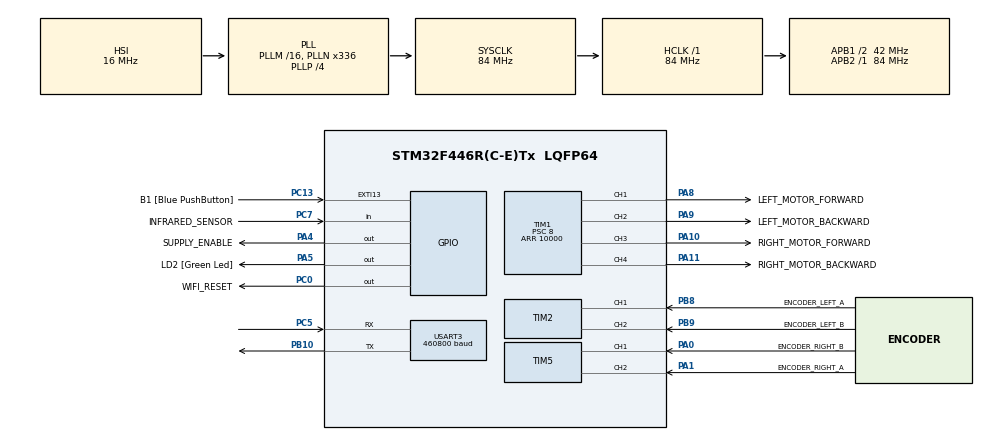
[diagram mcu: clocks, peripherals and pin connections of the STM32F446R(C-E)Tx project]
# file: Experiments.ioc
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Mcu.Family=STM32F4
PH0-OSC_IN.Signal=RCC_OSC_IN
VP_SYS_VS_tim6.Mode=TIM6
Dma.USART3_RX.0.PeriphInc=DMA_PINC_DISABLE
SH.S_TIM1_CH4.0=TIM1_CH4,PWM Generation4 CH4
RCC.CortexFreq_Value=84000000
PB10.Mode=Asynchronous
NVIC.TIM6_DAC_IRQn=true\:0\:0\:false\:false\:true\:false\:false\:true
PA14.GPIO_Label=TCK
SH.S_TIM5_CH2.0=TIM5_CH2,Encoder_Interface
PC0.GPIO_Label=WIFI_RESET
PC5.Mode=Asynchronous
PC13.GPIO_Label=B1 [Blue PushButton]
RCC.SYSCLKSource=RCC_SYSCLKSOURCE_PLLCLK
ProjectManager.StackSize=0x400
VP_FREERTOS_VS_CMSIS_V2.Mode=CMSIS_V2
TIM1.Prescaler=8
USART3.BaudRate=460800
TIM1.Channel-PWM\ Generation4\ CH4=TIM_CHANNEL_4
RCC.HCLKFreq_Value=84000000
RCC.APB2TimFreq_Value=84000000
TIM3.Period=1000-1
PC7.Signal=GPIO_Input
RCC.AHBFreq_Value=84000000
PH0-OSC_IN.Mode=HSE-External-Oscillator
RCC.HSE_VALUE=8000000
Dma.USART3_RX.0.MemDataAlignment=DMA_MDATAALIGN_BYTE
PA4.GPIO_PuPd=GPIO_NOPULL
PC14-OSC32_IN.Mode=LSE-External-Oscillator
TIM1.Channel-PWM\ Generation1\ CH1=TIM_CHANNEL_1
PA14.Mode=Serial_Wire
TIM3.Prescaler=840-1
PA10.GPIO_Label=RIGHT_MOTOR_FORWARD
Dma.USART3_RX.0.PeriphDataAlignment=DMA_PDATAALIGN_BYTE
PC13.GPIO_PuPd=GPIO_NOPULL
Dma.USART3_RX.0.FIFOMode=DMA_FIFOMODE_DISABLE
PA8.Signal=S_TIM1_CH1
TIM5.IC1Filter=15
RCC.FLatency-AdvancedSettings=FLASH_LATENCY_2
PH1-OSC_OUT.Mode=HSE-External-Oscillator
Dma.USART3_RX.0.Direction=DMA_PERIPH_TO_MEMORY
PB9.Signal=S_TIM2_CH2
Mcu.Package=LQFP64
NVIC.TimeBase=TIM6_DAC_IRQn
PA2.GPIO_Label=USART_TX
NVIC.TimeBaseIP=TIM6
PA10.Signal=S_TIM1_CH3
PA15.Signal=UART4_RTS
Dma.USART3_RX.0.MemInc=DMA_MINC_ENABLE
RCC.APB1TimFreq_Value=84000000
SH.S_TIM5_CH1.0=TIM5_CH1,Encoder_Interface
PC5.Signal=USART3_RX
TIM1.Period=10000
PC0.GPIO_PuPd=GPIO_NOPULL
Dma.Request0=USART3_RX
PA4.GPIO_Label=SUPPLY_ENABLE
VP_TIM3_VS_ClockSourceINT.Mode=Internal
PA3.Signal=USART2_RX
PB3.GPIO_Label=SWO
Dma.USART3_RX.0.Instance=DMA1_Stream1
PC15-OSC32_OUT.Mode=LSE-External-Oscillator
TIM5.IC2Filter=15
FREERTOS.Tasks01=DiffDriveTask,48,256,MoveDifferentialDrive,Default,NULL,Dynamic,NULL,NULL;TxTask,48,512,TxStream,Default,NULL,Dynamic,NULL,NULL;RxTask,48,512,RxStream,Default,NULL,Dynamic,NULL,NULL
PB9.GPIO_Label=ENCODER_LEFT_B
TIM2.IC1Filter=15
PC13.Signal=GPXTI13
PA9.GPIO_Label=LEFT_MOTOR_BACKWARD
PA11.GPIO_Label=RIGHT_MOTOR_BACKWARD
NVIC.DMA1_Stream1_IRQn=true\:5\:0\:false\:false\:true\:true\:false\:true
PC0.Signal=GPIO_Output
RCC.APB1CLKDivider=RCC_HCLK_DIV2
PC14-OSC32_IN.Signal=RCC_OSC32_IN
PA0-WKUP.GPIO_Label=ENCODER_RIGHT_B
Dma.USART3_RX.0.Mode=DMA_NORMAL
PA0-WKUP.Signal=S_TIM5_CH1
PA13.Signal=SYS_JTMS-SWDIO
PB8.GPIO_Label=ENCODER_LEFT_A
SH.S_TIM2_CH2.0=TIM2_CH2,Encoder_Interface
PA8.GPIO_Label=LEFT_MOTOR_FORWARD
SH.S_TIM1_CH1.0=TIM1_CH1,PWM Generation1 CH1
ProjectManager.TargetToolchain=STM32CubeIDE
PA9.Signal=S_TIM1_CH2
TIM1.Channel-PWM\ Generation2\ CH2=TIM_CHANNEL_2
RCC.USBFreq_Value=168000000
PC15-OSC32_OUT.Signal=RCC_OSC32_OUT
PA1.Signal=S_TIM5_CH2
PB10.Signal=USART3_TX
PA5.Signal=GPIO_Output
board=NUCLEO-F446RE
RCC.VCOOutputFreq_Value=336000000
NVIC.TIM3_IRQn=true\:5\:0\:false\:false\:true\:true\:true\:true
RCC.APB2Freq_Value=84000000
SH.S_TIM1_CH2.0=TIM1_CH2,PWM Generation2 CH2
PA1.GPIO_Label=ENCODER_RIGHT_A
PH1-OSC_OUT.Signal=RCC_OSC_OUT
PA13.Mode=Serial_Wire
Mcu.Name=STM32F446R(C-E)Tx
PA2.Signal=USART2_TX
PA13.GPIO_Label=TMS
PC7.GPIO_Label=INFRARED_SENSOR
RCC.48MHZClocksFreq_Value=84000000
PB3.Signal=SYS_JTDO-SWO
PA4.Signal=GPIO_Output
RCC.SYSCLKFreq_VALUE=84000000
Dma.USART3_RX.0.Priority=DMA_PRIORITY_HIGH
PA5.GPIO_Label=LD2 [Green Led]
PC13.GPIO_ModeDefaultEXTI=GPIO_MODE_IT_FALLING
USART3.VirtualMode=VM_ASYNC
PA11.Signal=S_TIM1_CH4
SH.S_TIM2_CH1_ETR.0=TIM2_CH1,Encoder_Interface
PA14.Signal=SYS_JTCK-SWCLK
ProjectManager.HeapSize=0x200
SH.S_TIM1_CH3.0=TIM1_CH3,PWM Generation3 CH3
RCC.HSI_VALUE=16000000
RCC.PLLP=RCC_PLLP_DIV4
NVIC.PriorityGroup=NVIC_PRIORITYGROUP_4
RCC.PLLN=336
PB8.Signal=S_TIM2_CH1_ETR
TIM1.Channel-PWM\ Generation3\ CH3=TIM_CHANNEL_3
RCC.APB1Freq_Value=42000000
TIM2.IC2Filter=15
PA3.GPIO_Label=USART_RX

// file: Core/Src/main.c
/* USER CODE BEGIN Header */
/**
  ******************************************************************************
  * @file           : main.c
  * @brief          : Main program body
  ******************************************************************************
  * @attention
  *
  * <h2><center>&copy; Copyright (c) 2021 STMicroelectronics.
  * All rights reserved.</center></h2>
  *
  * This software component is licensed by ST under BSD 3-Clause license,
  * the "License"; You may not use this file except in compliance with the
  * License. You may obtain a copy of the License at:
  *                        opensource.org/licenses/BSD-3-Clause
  *
  ******************************************************************************
  */
/* USER CODE END Header */
#include "main.h"
#include "cmsis_os.h"

/* USER CODE BEGIN Includes */

#include "my_lib/differential_drive.h"
#include "my_lib/datastream.h"
#include "my_lib/digital_filters.h"

#include "my_data/identification.h"

#include <stdio.h>
#include <stdlib.h>
#include <string.h>
#include <math.h>

/* USER CODE END Includes */

TIM_HandleTypeDef htim1;
TIM_HandleTypeDef htim2;
TIM_HandleTypeDef htim3;
TIM_HandleTypeDef htim5;

UART_HandleTypeDef huart3;
DMA_HandleTypeDef hdma_usart3_rx;

/* Definitions for DiffDriveTask */
osThreadId_t DiffDriveTaskHandle;
const osThreadAttr_t DiffDriveTask_attributes = {
  .name = "DiffDriveTask",
  .stack_size = 256 * 4,
  .priority = (osPriority_t) osPriorityRealtime,
};
/* Definitions for TxTask */
osThreadId_t TxTaskHandle;
const osThreadAttr_t TxTask_attributes = {
  .name = "TxTask",
  .stack_size = 512 * 4,
  .priority = (osPriority_t) osPriorityRealtime,
};
/* Definitions for RxTask */
osThreadId_t RxTaskHandle;
const osThreadAttr_t RxTask_attributes = {
  .name = "RxTask",
  .stack_size = 512 * 4,
  .priority = (osPriority_t) osPriorityRealtime,
};
/* USER CODE BEGIN PV */

#ifdef OBSTACLE_AVOIDANCE

/* Definitions for InfraredTask */
osThreadId_t InfraredTaskHandle;
const osThreadAttr_t InfraredTask_attributes = {
  .name = "InfraredTask",
  .stack_size = 128 * 4,
  .priority = (osPriority_t) osPriorityRealtime,
};

#endif

// Handles of my libraries
DIFFDRIVE_HandleTypeDef hdiffdrive;
MAF_HandleTypeDef hfilter_a, hfilter_th, hfilter_infrared;
DATASTREAM_HandleTypeDef hstream;

/* USER CODE END PV */

void SystemClock_Config(void);
static void MX_GPIO_Init(void);
static void MX_DMA_Init(void);
static void MX_TIM2_Init(void);
static void MX_TIM1_Init(void);
static void MX_TIM3_Init(void);
static void MX_TIM5_Init(void);
static void MX_USART3_UART_Init(void);
void MoveDifferentialDrive(void *argument);
void TxStream(void *argument);
void RxStream(void *argument);

/* USER CODE BEGIN PFP */

static void MAIN_DATASTREAM_Init(void);
static void MAIN_DIFFDRIVE_Init(void);
static void MAIN_MAF_Init(void);

/* USER CODE END PFP */

/* USER CODE BEGIN 0 */

// Global variables shared within tasks
volatile float linear=0, angular=0;
volatile bool diffDrive_enabled= false;
volatile bool diffDrive_stopped= true;
volatile bool RxStream_enabled= true;
volatile bool RxStream_stopped= false;
volatile bool allow_new_msg= false;

/* USER CODE END 0 */

int main(void)
{

  /* MCU Configuration--------------------------------------------------------*/

  /* Reset of all peripherals, Initializes the Flash interface and the Systick. */
  HAL_Init();

  /* Configure the system clock */
  SystemClock_Config();

  /* Initialize all configured peripherals */
  MX_GPIO_Init();
  MX_DMA_Init();
  MX_TIM2_Init();
  MX_TIM1_Init();
  MX_TIM3_Init();
  MX_TIM5_Init();
  MX_USART3_UART_Init();
  /* USER CODE BEGIN 2 */

  // Initializing my libraries
  MAIN_DIFFDRIVE_Init();
  MAIN_DATASTREAM_Init();
  MAIN_MAF_Init();

  // Using the flag "wait_button" to start MCU with WIFI disabled
  // if blue button is pressed during reset. It's useful to avoid
  // battery leakage
  bool wait_for_button= false;
  if( !HAL_GPIO_ReadPin(B1_GPIO_Port, B1_Pin) ){
   	wait_for_button= true;
   	// Show pressed button
   	while( !HAL_GPIO_ReadPin(B1_GPIO_Port, B1_Pin) ){
   		HAL_GPIO_TogglePin(LD2_GPIO_Port, LD2_Pin);
   		HAL_Delay(50);
   	}
   	// Turn on LED
   	HAL_GPIO_WritePin(LD2_GPIO_Port, LD2_Pin, GPIO_PIN_RESET);
   	// Debouncing released button
   	HAL_Delay(1000);
  }

  // Reset ESP-8266
  HAL_GPIO_WritePin(WIFI_RESET_GPIO_Port, WIFI_RESET_Pin, GPIO_PIN_RESET);

  // Wait for blue button if this option is on
  if( wait_for_button )
	  while( HAL_GPIO_ReadPin(B1_GPIO_Port, B1_Pin) )
		  	  ;

  HAL_Delay(1000);

  // Start ESP
  HAL_GPIO_WritePin(WIFI_RESET_GPIO_Port, WIFI_RESET_Pin, GPIO_PIN_SET);

  // Wait a bit for ESP initialization
  HAL_Delay(3000);

  /* USER CODE END 2 */

  /* Init scheduler */
  osKernelInitialize();

  /* Create the thread(s) */
  /* creation of DiffDriveTask */
  DiffDriveTaskHandle = osThreadNew(MoveDifferentialDrive, NULL, &DiffDriveTask_attributes);

  /* creation of TxTask */
  TxTaskHandle = osThreadNew(TxStream, NULL, &TxTask_attributes);

  /* creation of RxTask */
  RxTaskHandle = osThreadNew(RxStream, NULL, &RxTask_attributes);

  /* USER CODE BEGIN RTOS_THREADS */
  /* add threads, ... */

#ifdef OBSTACLE_AVOIDANCE
  /* creation of InfraredTask */
  InfraredTaskHandle = osThreadNew(InfraredSensor, NULL, &InfraredTask_attributes);
#endif

  /* USER CODE END RTOS_THREADS */

  /* Start scheduler */
  osKernelStart();

  /* We should never get here as control is now taken by the scheduler */
  /* Infinite loop */
  while (1)
  {

  }
}

void SystemClock_Config(void)
{
  RCC_OscInitTypeDef RCC_OscInitStruct = {0};
  RCC_ClkInitTypeDef RCC_ClkInitStruct = {0};

  /** Configure the main internal regulator output voltage
  */
  __HAL_RCC_PWR_CLK_ENABLE();
  __HAL_PWR_VOLTAGESCALING_CONFIG(PWR_REGULATOR_VOLTAGE_SCALE3);
  /** Initializes the RCC Oscillators according to the specified parameters
  * in the RCC_OscInitTypeDef structure.
  */
  RCC_OscInitStruct.OscillatorType = RCC_OSCILLATORTYPE_HSI;
  RCC_OscInitStruct.HSIState = RCC_HSI_ON;
  RCC_OscInitStruct.HSICalibrationValue = RCC_HSICALIBRATION_DEFAULT;
  RCC_OscInitStruct.PLL.PLLState = RCC_PLL_ON;
  RCC_OscInitStruct.PLL.PLLSource = RCC_PLLSOURCE_HSI;
  RCC_OscInitStruct.PLL.PLLM = 16;
  RCC_OscInitStruct.PLL.PLLN = 336;
  RCC_OscInitStruct.PLL.PLLP = RCC_PLLP_DIV4;
  RCC_OscInitStruct.PLL.PLLQ = 2;
  RCC_OscInitStruct.PLL.PLLR = 2;
  if (HAL_RCC_OscConfig(&RCC_OscInitStruct) != HAL_OK)
  {
    Error_Handler();
  }
  /** Initializes the CPU, AHB and APB buses clocks
  */
  RCC_ClkInitStruct.ClockType = RCC_CLOCKTYPE_HCLK|RCC_CLOCKTYPE_SYSCLK
                              |RCC_CLOCKTYPE_PCLK1|RCC_CLOCKTYPE_PCLK2;
  RCC_ClkInitStruct.SYSCLKSource = RCC_SYSCLKSOURCE_PLLCLK;
  RCC_ClkInitStruct.AHBCLKDivider = RCC_SYSCLK_DIV1;
  RCC_ClkInitStruct.APB1CLKDivider = RCC_HCLK_DIV2;
  RCC_ClkInitStruct.APB2CLKDivider = RCC_HCLK_DIV1;

  if (HAL_RCC_ClockConfig(&RCC_ClkInitStruct, FLASH_LATENCY_2) != HAL_OK)
  {
    Error_Handler();
  }
}

static void MX_TIM1_Init(void)
{

  TIM_MasterConfigTypeDef sMasterConfig = {0};
  TIM_OC_InitTypeDef sConfigOC = {0};
  TIM_BreakDeadTimeConfigTypeDef sBreakDeadTimeConfig = {0};

  htim1.Instance = TIM1;
  htim1.Init.Prescaler = 8;
  htim1.Init.CounterMode = TIM_COUNTERMODE_UP;
  htim1.Init.Period = 10000;
  htim1.Init.ClockDivision = TIM_CLOCKDIVISION_DIV1;
  htim1.Init.RepetitionCounter = 0;
  htim1.Init.AutoReloadPreload = TIM_AUTORELOAD_PRELOAD_DISABLE;
  if (HAL_TIM_PWM_Init(&htim1) != HAL_OK)
  {
    Error_Handler();
  }
  sMasterConfig.MasterOutputTrigger = TIM_TRGO_RESET;
  sMasterConfig.MasterSlaveMode = TIM_MASTERSLAVEMODE_DISABLE;
  if (HAL_TIMEx_MasterConfigSynchronization(&htim1, &sMasterConfig) != HAL_OK)
  {
    Error_Handler();
  }
  sConfigOC.OCMode = TIM_OCMODE_PWM1;
  sConfigOC.Pulse = 0;
  sConfigOC.OCPolarity = TIM_OCPOLARITY_HIGH;
  sConfigOC.OCNPolarity = TIM_OCNPOLARITY_HIGH;
  sConfigOC.OCFastMode = TIM_OCFAST_DISABLE;
  sConfigOC.OCIdleState = TIM_OCIDLESTATE_RESET;
  sConfigOC.OCNIdleState = TIM_OCNIDLESTATE_RESET;
  if (HAL_TIM_PWM_ConfigChannel(&htim1, &sConfigOC, TIM_CHANNEL_1) != HAL_OK)
  {
    Error_Handler();
  }
  if (HAL_TIM_PWM_ConfigChannel(&htim1, &sConfigOC, TIM_CHANNEL_2) != HAL_OK)
  {
    Error_Handler();
  }
  if (HAL_TIM_PWM_ConfigChannel(&htim1, &sConfigOC, TIM_CHANNEL_3) != HAL_OK)
  {
    Error_Handler();
  }
  if (HAL_TIM_PWM_ConfigChannel(&htim1, &sConfigOC, TIM_CHANNEL_4) != HAL_OK)
  {
    Error_Handler();
  }
  sBreakDeadTimeConfig.OffStateRunMode = TIM_OSSR_DISABLE;
  sBreakDeadTimeConfig.OffStateIDLEMode = TIM_OSSI_DISABLE;
  sBreakDeadTimeConfig.LockLevel = TIM_LOCKLEVEL_OFF;
  sBreakDeadTimeConfig.DeadTime = 0;
  sBreakDeadTimeConfig.BreakState = TIM_BREAK_DISABLE;
  sBreakDeadTimeConfig.BreakPolarity = TIM_BREAKPOLARITY_HIGH;
  sBreakDeadTimeConfig.AutomaticOutput = TIM_AUTOMATICOUTPUT_DISABLE;
  if (HAL_TIMEx_ConfigBreakDeadTime(&htim1, &sBreakDeadTimeConfig) != HAL_OK)
  {
    Error_Handler();
  }
  HAL_TIM_MspPostInit(&htim1);

}

static void MX_TIM2_Init(void)
{

  TIM_Encoder_InitTypeDef sConfig = {0};
  TIM_MasterConfigTypeDef sMasterConfig = {0};

  htim2.Instance = TIM2;
  htim2.Init.Prescaler = 0;
  htim2.Init.CounterMode = TIM_COUNTERMODE_UP;
  htim2.Init.Period = 4294967295;
  htim2.Init.ClockDivision = TIM_CLOCKDIVISION_DIV1;
  htim2.Init.AutoReloadPreload = TIM_AUTORELOAD_PRELOAD_DISABLE;
  sConfig.EncoderMode = TIM_ENCODERMODE_TI1;
  sConfig.IC1Polarity = TIM_ICPOLARITY_RISING;
  sConfig.IC1Selection = TIM_ICSELECTION_DIRECTTI;
  sConfig.IC1Prescaler = TIM_ICPSC_DIV1;
  sConfig.IC1Filter = 15;
  sConfig.IC2Polarity = TIM_ICPOLARITY_RISING;
  sConfig.IC2Selection = TIM_ICSELECTION_DIRECTTI;
  sConfig.IC2Prescaler = TIM_ICPSC_DIV1;
  sConfig.IC2Filter = 15;
  if (HAL_TIM_Encoder_Init(&htim2, &sConfig) != HAL_OK)
  {
    Error_Handler();
  }
  sMasterConfig.MasterOutputTrigger = TIM_TRGO_RESET;
  sMasterConfig.MasterSlaveMode = TIM_MASTERSLAVEMODE_DISABLE;
  if (HAL_TIMEx_MasterConfigSynchronization(&htim2, &sMasterConfig) != HAL_OK)
  {
    Error_Handler();
  }

}

static void MX_TIM3_Init(void)
{

  TIM_ClockConfigTypeDef sClockSourceConfig = {0};
  TIM_MasterConfigTypeDef sMasterConfig = {0};

  htim3.Instance = TIM3;
  htim3.Init.Prescaler = 840-1;
  htim3.Init.CounterMode = TIM_COUNTERMODE_UP;
  htim3.Init.Period = 1000-1;
  htim3.Init.ClockDivision = TIM_CLOCKDIVISION_DIV1;
  htim3.Init.AutoReloadPreload = TIM_AUTORELOAD_PRELOAD_DISABLE;
  if (HAL_TIM_Base_Init(&htim3) != HAL_OK)
  {
    Error_Handler();
  }
  sClockSourceConfig.ClockSource = TIM_CLOCKSOURCE_INTERNAL;
  if (HAL_TIM_ConfigClockSource(&htim3, &sClockSourceConfig) != HAL_OK)
  {
    Error_Handler();
  }
  sMasterConfig.MasterOutputTrigger = TIM_TRGO_RESET;
  sMasterConfig.MasterSlaveMode = TIM_MASTERSLAVEMODE_DISABLE;
  if (HAL_TIMEx_MasterConfigSynchronization(&htim3, &sMasterConfig) != HAL_OK)
  {
    Error_Handler();
  }

}

static void MX_TIM5_Init(void)
{

  TIM_Encoder_InitTypeDef sConfig = {0};
  TIM_MasterConfigTypeDef sMasterConfig = {0};

  htim5.Instance = TIM5;
  htim5.Init.Prescaler = 0;
  htim5.Init.CounterMode = TIM_COUNTERMODE_UP;
  htim5.Init.Period = 4294967295;
  htim5.Init.ClockDivision = TIM_CLOCKDIVISION_DIV1;
  htim5.Init.AutoReloadPreload = TIM_AUTORELOAD_PRELOAD_DISABLE;
  sConfig.EncoderMode = TIM_ENCODERMODE_TI1;
  sConfig.IC1Polarity = TIM_ICPOLARITY_RISING;
  sConfig.IC1Selection = TIM_ICSELECTION_DIRECTTI;
  sConfig.IC1Prescaler = TIM_ICPSC_DIV1;
  sConfig.IC1Filter = 15;
  sConfig.IC2Polarity = TIM_ICPOLARITY_RISING;
  sConfig.IC2Selection = TIM_ICSELECTION_DIRECTTI;
  sConfig.IC2Prescaler = TIM_ICPSC_DIV1;
  sConfig.IC2Filter = 15;
  if (HAL_TIM_Encoder_Init(&htim5, &sConfig) != HAL_OK)
  {
    Error_Handler();
  }
  sMasterConfig.MasterOutputTrigger = TIM_TRGO_RESET;
  sMasterConfig.MasterSlaveMode = TIM_MASTERSLAVEMODE_DISABLE;
  if (HAL_TIMEx_MasterConfigSynchronization(&htim5, &sMasterConfig) != HAL_OK)
  {
    Error_Handler();
  }

}

static void MX_USART3_UART_Init(void)
{

  huart3.Instance = USART3;
  huart3.Init.BaudRate = 460800;
  huart3.Init.WordLength = UART_WORDLENGTH_8B;
  huart3.Init.StopBits = UART_STOPBITS_1;
  huart3.Init.Parity = UART_PARITY_NONE;
  huart3.Init.Mode = UART_MODE_TX_RX;
  huart3.Init.HwFlowCtl = UART_HWCONTROL_NONE;
  huart3.Init.OverSampling = UART_OVERSAMPLING_16;
  if (HAL_UART_Init(&huart3) != HAL_OK)
  {
    Error_Handler();
  }

}

static void MX_DMA_Init(void)
{

  /* DMA controller clock enable */
  __HAL_RCC_DMA1_CLK_ENABLE();

  /* DMA interrupt init */
  /* DMA1_Stream1_IRQn interrupt configuration */
  HAL_NVIC_SetPriority(DMA1_Stream1_IRQn, 5, 0);
  HAL_NVIC_EnableIRQ(DMA1_Stream1_IRQn);

}

static void MX_GPIO_Init(void)
{
  GPIO_InitTypeDef GPIO_InitStruct = {0};

  /* GPIO Ports Clock Enable */
  __HAL_RCC_GPIOC_CLK_ENABLE();
  __HAL_RCC_GPIOH_CLK_ENABLE();
  __HAL_RCC_GPIOA_CLK_ENABLE();
  __HAL_RCC_GPIOB_CLK_ENABLE();

  /*Configure GPIO pin Output Level */
  HAL_GPIO_WritePin(WIFI_RESET_GPIO_Port, WIFI_RESET_Pin, GPIO_PIN_RESET);

  /*Configure GPIO pin Output Level */
  HAL_GPIO_WritePin(GPIOA, SUPPLY_ENABLE_Pin|LD2_Pin, GPIO_PIN_RESET);

  /*Configure GPIO pin : B1_Pin */
  GPIO_InitStruct.Pin = B1_Pin;
  GPIO_InitStruct.Mode = GPIO_MODE_IT_FALLING;
  GPIO_InitStruct.Pull = GPIO_NOPULL;
  HAL_GPIO_Init(B1_GPIO_Port, &GPIO_InitStruct);

  /*Configure GPIO pin : WIFI_RESET_Pin */
  GPIO_InitStruct.Pin = WIFI_RESET_Pin;
  GPIO_InitStruct.Mode = GPIO_MODE_OUTPUT_PP;
  GPIO_InitStruct.Pull = GPIO_NOPULL;
  GPIO_InitStruct.Speed = GPIO_SPEED_FREQ_LOW;
  HAL_GPIO_Init(WIFI_RESET_GPIO_Port, &GPIO_InitStruct);

  /*Configure GPIO pins : USART_TX_Pin USART_RX_Pin */
  GPIO_InitStruct.Pin = USART_TX_Pin|USART_RX_Pin;
  GPIO_InitStruct.Mode = GPIO_MODE_AF_PP;
  GPIO_InitStruct.Pull = GPIO_NOPULL;
  GPIO_InitStruct.Speed = GPIO_SPEED_FREQ_VERY_HIGH;
  GPIO_InitStruct.Alternate = GPIO_AF7_USART2;
  HAL_GPIO_Init(GPIOA, &GPIO_InitStruct);

  /*Configure GPIO pins : SUPPLY_ENABLE_Pin LD2_Pin */
  GPIO_InitStruct.Pin = SUPPLY_ENABLE_Pin|LD2_Pin;
  GPIO_InitStruct.Mode = GPIO_MODE_OUTPUT_PP;
  GPIO_InitStruct.Pull = GPIO_NOPULL;
  GPIO_InitStruct.Speed = GPIO_SPEED_FREQ_LOW;
  HAL_GPIO_Init(GPIOA, &GPIO_InitStruct);

  /*Configure GPIO pin : INFRARED_SENSOR_Pin */
  GPIO_InitStruct.Pin = INFRARED_SENSOR_Pin;
  GPIO_InitStruct.Mode = GPIO_MODE_INPUT;
  GPIO_InitStruct.Pull = GPIO_NOPULL;
  HAL_GPIO_Init(INFRARED_SENSOR_GPIO_Port, &GPIO_InitStruct);

  /*Configure GPIO pin : PA15 */
  GPIO_InitStruct.Pin = GPIO_PIN_15;
  GPIO_InitStruct.Mode = GPIO_MODE_AF_PP;
  GPIO_InitStruct.Pull = GPIO_NOPULL;
  GPIO_InitStruct.Speed = GPIO_SPEED_FREQ_VERY_HIGH;
  GPIO_InitStruct.Alternate = GPIO_AF8_UART4;
  HAL_GPIO_Init(GPIOA, &GPIO_InitStruct);

}

/* USER CODE BEGIN 4 */

static void MAIN_DATASTREAM_Init(){

	DATASTREAM_InitTypeDef DATASTREAM_InitStruct;

	DATASTREAM_InitStruct.DMA_Rx_Enable= true;
	DATASTREAM_InitStruct.DMA_Rx_Stream_IRQn= DMA1_Stream1_IRQn;
	DATASTREAM_InitStruct.huart= &huart3;

	hstream.Init= DATASTREAM_InitStruct;

	DATASTREAM_Init(&hstream);

}

static void MAIN_DIFFDRIVE_Init(void){

	float Ts= 0.01f;
	uint16_t max_sample= 1400u;

	hdiffdrive.Init.timing_htim= &htim3;
	hdiffdrive.Init.timing_time_step= Ts;

	hdiffdrive.Init.encoder_htim[left ]= &htim2;
	hdiffdrive.Init.encoder_htim[right]= &htim5;
	hdiffdrive.Init.encoder_tim_channel[left ]= TIM_CHANNEL_1;
	hdiffdrive.Init.encoder_tim_channel[right]= TIM_CHANNEL_1;
	hdiffdrive.Init.encoder_tim_arr_resolution[left ]= 32;
	hdiffdrive.Init.encoder_tim_arr_resolution[right]= 32;

	hdiffdrive.Init.encoder_resolution[left ]= 1900; //1920; // Number of step each wheel revolution
	hdiffdrive.Init.encoder_resolution[right]= 1900; //1920;

	hdiffdrive.Init.motor_htim[left ][forward ]= &htim1;
	hdiffdrive.Init.motor_htim[left ][backward]= &htim1;
	hdiffdrive.Init.motor_htim[right][forward ]= &htim1;
	hdiffdrive.Init.motor_htim[right][backward]= &htim1;

	hdiffdrive.Init.motor_pwm_channel[left ][forward ]= TIM_CHANNEL_1;
	hdiffdrive.Init.motor_pwm_channel[left ][backward]= TIM_CHANNEL_2;
	hdiffdrive.Init.motor_pwm_channel[right][forward ]= TIM_CHANNEL_3;
	hdiffdrive.Init.motor_pwm_channel[right][backward]= TIM_CHANNEL_4;

	hdiffdrive.Init.motor_max_voltage[left ]= 	 MOTOR_MAX_VOLTAGE;
	hdiffdrive.Init.motor_max_voltage[right]= 	 MOTOR_MAX_VOLTAGE;
	hdiffdrive.Init.motor_min_voltage[left ]= 	 MOTOR_MIN_VOLTAGE;
	hdiffdrive.Init.motor_min_voltage[right]= 	 MOTOR_MIN_VOLTAGE;
	hdiffdrive.Init.motor_supply_voltage[left]=  SUPPLY_VOLTAGE;
	hdiffdrive.Init.motor_supply_voltage[right]= SUPPLY_VOLTAGE;

	hdiffdrive.Init.control_fdfrwrd_arma_AR[left ]= AR_L;
	hdiffdrive.Init.control_fdfrwrd_arma_AR[right]= AR_R;
	hdiffdrive.Init.control_fdfrwrd_arma_MA[left ]= MA_L;
	hdiffdrive.Init.control_fdfrwrd_arma_MA[right]= MA_R;
	hdiffdrive.Init.control_fdfrwrd_arma_n_ar[left ]= N_AR_L;
	hdiffdrive.Init.control_fdfrwrd_arma_n_ar[right]= N_AR_R;
	hdiffdrive.Init.control_fdfrwrd_arma_n_ma[left ]= N_MA_L;
	hdiffdrive.Init.control_fdfrwrd_arma_n_ma[right]= N_MA_R;
	hdiffdrive.Init.control_fdfrwrd_arma_tau[left ]= TAU_L;
	hdiffdrive.Init.control_fdfrwrd_arma_tau[right]= TAU_R;

	hdiffdrive.Init.control_pid_P[left ]= 20.0f;  //33.3;
	hdiffdrive.Init.control_pid_P[right]= 20.0f;  //33.3;
	hdiffdrive.Init.control_pid_I[left ]= 8.0f;   //7.6;
	hdiffdrive.Init.control_pid_I[right]= 8.0f;   //7.6;
	hdiffdrive.Init.control_pid_D[left ]= 0.0f;
	hdiffdrive.Init.control_pid_D[right]= 0.0f;

	hdiffdrive.Init.history_max_sample= max_sample;

	// --- Mechanical parameters (from real model) --- //

	hdiffdrive.Init.mech_prmtr_l=                 0.155f/2.0f; // Distance between wheels.
	hdiffdrive.Init.mech_prmtr_r=                 0.069f/2.0f; // Wheels radius.

	hdiffdrive.Init.mech_prmtr_max_wheel_speed=   10.0f; // Radiant each seconds (rad/s). DC motors and gears specifics,
												        // on about the working voltage (~ 6-7V), is 160 rpm (~ 16 rad/s), with
											           // no load, so here I use a smaller value. Below, the web link of the
										     	      // motor specifics (on STM32CubeIDE press CTRL and then click):
												     //
  												    // https://wiki.dfrobot.com/Micro_DC_Motor_with_Encoder-SJ02_SKU__FIT0458
												   //
	// --- Initialize handle --- //
	DIFFDRIVE_Init(&hdiffdrive);

}

// Moving Average Filter initialization --------------------------------------------- //
static void MAIN_MAF_Init(void){

	int filtr_a_size=  1;
	int filtr_th_size= 1;

	int filtr_infrared_size= 100;

	// Null pointer to use a MAF without weights
	void* weights_buff= NULL;

	// Creating filters
	hfilter_a  = MAF_Create(filtr_a_size,  weights_buff);
	hfilter_th = MAF_Create(filtr_th_size, weights_buff);
	hfilter_infrared = MAF_Create(filtr_infrared_size, weights_buff);

}

#ifdef OBSTACLE_AVOIDANCE

/* USER CODE BEGIN Header_InfraredSensor */
/**
* @brief Function implementing the InfraredTask thread.
* @param argument: Not used
* @retval None
*/

/* USER CODE END Header_InfraredSensor */
void InfraredSensor(void *argument)
{
  /* USER CODE BEGIN InfraredSensor */

  int sens=0, k=0;
  (void) k;

  /* Infinite loop */
  for(;;)
  {
	  sens= HAL_GPIO_ReadPin(INFRARED_SENSOR_GPIO_Port, INFRARED_SENSOR_Pin);

	  MAF_Update(&hfilter_infrared, sens);

	  osDelay(1);
  }
  /* USER CODE END InfraredSensor */
}
#endif

/* USER CODE END 4 */

void MoveDifferentialDrive(void *argument)
{
  /* USER CODE BEGIN 5 */

	// Trajectory speeds (linear and angular speed)
	float v= 0, om= 0;

	// Trajectory speed limits (theoretically computed below)
	float v_max, om_max;

	// Extracting Max wheels speed (radiant each second)
	float wheel_speed[2];
	float wheel_speed_max= hdiffdrive.mech_prmtr.max_wheel_speed;
	wheel_speed[left ]= wheel_speed_max;
	wheel_speed[right]= wheel_speed_max;

	// Delta_a_max computation (linear variation, is max when wheels rotate at max speed on same direction)
	DIFFDRIVE_WheelSpeed2TrajectorySpeed(&v_max, NULL, wheel_speed);
	v_max *= 1; // Here you could modulate max value

	// Delta_th_max computation (angular variation, is max when wheel rotate at max speed on opposite direction)
	wheel_speed[left]= -wheel_speed_max;
	DIFFDRIVE_WheelSpeed2TrajectorySpeed(NULL, &om_max, wheel_speed);
	om_max *= 1; // Here you could modulate max value

#ifdef OBSTACLE_AVOIDANCE
	// IR sensor variables
	float IR_val;
	float IR_thres= 0.3;
#endif

	// Setting Global flag to indicate that Diff Drive is going to move
	diffDrive_stopped= false;

	// Start control
	DIFFDRIVE_TrackingStart();

	/* Infinite loop */
	for(;;){

		// If movement is enabled
		if( diffDrive_enabled ){

			v=  linear;
			om= angular;

			// Enroll angular speed to a fixed range
			if(fabsf(om) > om_max)
				// x/|x| == sign(x)
				om = om_max*om/fabsf(om);

			//
			// Compute v_max, to find a feasible trajectory, i.e. that respect wheel max speed rate.
			// Here I fix omega (angular speed), computed above, and I find the current max (feasible) linear value
			// Look at chapter 2, expression 2.12, on the links below (on STM32CubeIDE press CTRL and then click). You
			// have just to find the max or min v value (min is -max) with the constraints of omega fixed and
			// wheel_speed between the fixed range:
			//
			// https://github.com/FloydPeppe/Progetto_Sistemi_Embedded/blob/main/Tesina/Tesina_Progetto_Embedded.pdf
			//
			float l = hdiffdrive.mech_prmtr.l;
			float r = hdiffdrive.mech_prmtr.r;
			if( om >= 0 )
				v_max = r * wheel_speed_max - om * l;
			else
				v_max = r * wheel_speed_max + om * l;

			// Enroll linear speed to fixed range
			if(fabsf(v) > v_max)
				// x/|x| == sign(x)
				v = v_max*v/fabsf(v);

			// Update filters to smooth a bit input trajectory
			MAF_Update(&hfilter_a,  v);
			MAF_Update(&hfilter_th, om);

			// Get current values
			v=  __MAF_GET_VAL(&hfilter_a);
			om= __MAF_GET_VAL(&hfilter_th);

			// If diff drive has been previously stopped
			if( diffDrive_stopped ){
				// Restart control
				DIFFDRIVE_TrackingResume();
				// Set flag to indicate that is going to move
				diffDrive_stopped= false;
			}

#ifdef OBSTACLE_AVOIDANCE
			// Only in forward direction (infrared sensor is in front of diff drive)
			if( v > 0 ){
				// v enveloped by infrared sensor value
				v *= (IR_val = __MAF_GET_VAL(&hfilter_infrared));

				//IR_val = __MAF_GET_VAL(&hfilter_infrared);

				// If IR_val < IR_thres, v = 0
				if( IR_val < IR_thres )
					v = 0;
			}
#endif

			// Timing the external transmitter periodically setting this flag
			allow_new_msg= true;

			// Make step control
			DIFFDRIVE_TrackingStep(v, om);

		}
		// if movement is disabled and diffDrive is moving
		else if( !diffDrive_stopped ){
			// Suspend control (stop diff drive)
			DIFFDRIVE_TrackingSuspend();

			// Reset filters
			MAF_Reset(&hfilter_a,  0);
			MAF_Reset(&hfilter_th, 0);

			// Set global flag to indicate that diff drive is now stopped
			diffDrive_stopped= true;
		}

	}
  /* USER CODE END 5 */
}

void TxStream(void *argument)
{
  /* USER CODE BEGIN TxStream */

  /* Infinite loop */
  for(;;)
  {

	  // When this thread is active I use HAL_Delay(ms) and not osDelay(ms), because during Tx stream
	  // I suspend other theads, so I don't need os timing. Moreover, osDelay sometimes hangs forever
	  // without no reason, I guess 'cause other threads are suspended and scheduler try to wait for them.

	  // If blue button is pressed
	  if( !HAL_GPIO_ReadPin(B1_GPIO_Port, B1_Pin) ){

		  // Stop Rx stream
		  RxStream_enabled= false;

		  // Wait until Rx is stream is stopped
		  while( !RxStream_stopped )
			  ;

		  // Stop Differential Drive motion
		  diffDrive_enabled= false;

		  // Wait until diff drive is still
		  while( !diffDrive_stopped )
			  ;

		  // Suspend other threads while sending values
		  osThreadSuspend(DiffDriveTaskHandle);
#ifdef OBSTACLE_AVOIDANCE
		  osThreadSuspend(InfraredTaskHandle);
#endif
		  osThreadSuspend(RxTaskHandle);

		  // Turn on LED
		  HAL_GPIO_WritePin(LD2_GPIO_Port, LD2_Pin, GPIO_PIN_SET);

		  // Reset ESP-8266
		  HAL_GPIO_WritePin(WIFI_RESET_GPIO_Port, WIFI_RESET_Pin, GPIO_PIN_RESET);

		  HAL_Delay(400);

		  // Send values forever
		  for(;;){

			  // If blue button is pressed again
			  if( !HAL_GPIO_ReadPin(B1_GPIO_Port, B1_Pin) ){

				  // Enable ESP-8266
				  HAL_GPIO_WritePin(WIFI_RESET_GPIO_Port, WIFI_RESET_Pin, GPIO_PIN_SET);

				  // Rapidly flash led to show MCU ready to send values
				  for(int i=0; i<20; i++){
					  HAL_GPIO_TogglePin(LD2_GPIO_Port, LD2_Pin);
					  HAL_Delay(50);
				  }

				  // Turn off LED
				  HAL_GPIO_WritePin(LD2_GPIO_Port, LD2_Pin, GPIO_PIN_RESET);

				  // Wait for 10 received chars
				  char ch[10];
				  HAL_UART_Receive(&huart3, (uint8_t*) ch, sizeof(ch), HAL_MAX_DELAY);

				  // Wait a bit
				  HAL_Delay(2000);

				  // Histroy variable
				  DIFFDRIVE_HISTORY_TypeDef tmphist= hdiffdrive.history;

				  // Number of saved samples
				  int N_sample;
				  if( tmphist.sample_cnt < tmphist.max_sample )
					  N_sample=  tmphist.sample_cnt;
				  else
					  N_sample=  tmphist.max_sample;

				  // First values send is the actual number of samples
				  DATASTREAM_Print(&hstream, int_csv, 1, (double)N_sample);
				  // Bit of transfer delay
				  HAL_Delay(5);

				  // Init History Get function
				  DIFFDRIVE_HISTORY_Get_Init();

				  for(int k= 0; k < N_sample; k++){
					  // Temporary variables
					  DIFFDRIVE_STATE_TypeDef state_measure, state_target;

					  // Get one state sample from history
					  DIFFDRIVE_HISTORY_Get_Sample(&state_measure, &state_target);

					  // Send values to serial connected to ESP WiFi module
					  DATASTREAM_Print(
							  &hstream, float_csv, 14,
							  state_measure.input[left], state_measure.input[right],
							  state_target .input[left], state_target .input[right],
							  state_measure.wheel[left], state_measure.wheel[right],
							  state_target .wheel[left], state_target .wheel[right],
							  state_measure.pose.x_a,    state_measure.pose.y_a,
							  state_measure.pose.theta,
							  state_target .pose.x_a,    state_target.pose.y_a,
							  state_target .pose.theta
					  );
					  // Bit of transfer delay
					  HAL_Delay(5);
					  // Toggling led to show data transfer operation
					  if( !(k%50) )
						  HAL_GPIO_TogglePin(LD2_GPIO_Port, LD2_Pin);
				  }

				  // Turn off LED
				  HAL_GPIO_WritePin(LD2_GPIO_Port, LD2_Pin, GPIO_PIN_RESET);

				  // Reset ESP-8266
				  HAL_GPIO_WritePin(WIFI_RESET_GPIO_Port, WIFI_RESET_Pin, GPIO_PIN_RESET);
			  }

		  }
	  }
  }
  /* USER CODE END TxStream */
}

/* USER CODE BEGIN Header_RxStream */
/**
* @brief Function implementing the RxTask thread.
* @param argument: Not used
* @retval None
*/

//#define STOP_WHEN_ZERO_ENTRY_

/* USER CODE END Header_RxStream */
void RxStream(void *argument)
{
  /* USER CODE BEGIN RxStream */
	/* Infinite loop */

	// Debug array
	uint32_t running_time[100]={0};
	int k_= 0;

	// Communication timeout of milliseconds
	uint32_t timeout_time= 2000;

#ifdef CSV_PACKET

	// Strings
	char str_1[20], str_2[20];

	// Data buffer
	uint8_t data[74];

#else
#ifdef JSON_PACKET

	// Strings
	char str_1[20], str_2[20];

	// Data buffer
	uint8_t data[200];

	// Target strings to find on packet
	char target_str[]= "value"; //"gravity";
	char curr_str[]=   "value"; //"gravity";
#else
#ifdef BINARY_PACKET

	// Float values expected to extract
	uint8_t n_values= 2;

	// Repetition of the packet
	uint8_t packet_repeat=2 ;

	// Actual number of float received (n_values+1 because one float is an "inf" to show where the packet start)
	uint8_t n_float= (n_values+1)*packet_repeat;

	// Number of byte
	uint8_t n_byte= n_float*sizeof(float);;

	// Data buffer in byte
	uint8_t data[n_byte];

#endif /* CSV_PACKET    */
#endif /* JSON_PACKET   */
#endif /* BINARY_PACKET */

	// Keep LED on to show that data transfer is down
	HAL_GPIO_WritePin(LD2_GPIO_Port, LD2_Pin, GPIO_PIN_SET);

	// Start DMA Rx (Rx_flag will be connected with the flag inside datastream handle struct)
	DATASTREAM_ReceiveDMA(&hstream, data, sizeof(data));

	// Wait for a received input
	while( !__DATASTREAM_RX_DMA_CPLT(&hstream) )
		__NOP();

	// LED off to show that data transfer is up
	HAL_GPIO_WritePin(LD2_GPIO_Port, LD2_Pin, GPIO_PIN_RESET);

	// Setting Global flag to enable Diff Drive
	diffDrive_enabled= true;

	// Measure time
	uint32_t tic= osKernelGetTickCount();
	uint32_t toc;

	// Variable I need later
	DIFFDRIVE_STATE_TypeDef state_measure;

	for(;;){

		// If data is received
		if( __DATASTREAM_RX_DMA_CPLT(&hstream) ){

			// Debug time
			if( k_ < sizeof(running_time)/sizeof(*running_time) )
				running_time[k_++]= osKernelGetTickCount()-tic;

#ifdef BINARY_PACKET

			uint8_t tmp_data[n_byte];
			float curr_val;
			// FLip array of byte data (I guess the transmitter send with different endiannes)
			for( int i=0; i<n_byte; i++)
				tmp_data[n_byte-1-i]= data[i];

			// Find the index where the "inf" values is, the packet start from there
			int i=0;
			while( i < n_byte && !isinf(curr_val= *((float*)(tmp_data+i++))) )
				;

			// If the data, read from the found index, contain 2 float
			if( --i < n_byte-sizeof(float)*n_values ){
				// First value I send is the last I receive (from Transmitter I send first linear and then angular
				// here I receive first angular and then linear)
				angular= *((float*)(tmp_data+i+(n_values-1)*sizeof(float)));
				linear=  *((float*)(tmp_data+i+(n_values-0)*sizeof(float)));
			}

#else

			int start_idx=0;

#ifdef CSV_PACKET

			// Find message start index (where the '\n' char is)
			while( data[start_idx++] != '\n' && start_idx < sizeof(data) )
				;

#else
#ifdef JSON_PACKET

			// Find message start index from JSON packet (where the "value" string ends, use debugger to see how
			// packet is formatted)
			do{
				for(int j=0; j<sizeof(curr_str)-1; j++)
					curr_str[j]= data[start_idx+j];
				curr_str[sizeof(curr_str)-1]= '\0';

				start_idx++;

			}while( strcmp(curr_str,target_str) && start_idx < sizeof(data)+sizeof(curr_str) );

			start_idx= start_idx+sizeof(target_str)+1;

#endif /* JSON_PACKET */
#endif /* CSV_PACKET */

			// Read CSV message (data itself is CSV formatted both for JSON and pure CSV packet)
			int i= start_idx;
			while( data[i] != ',' &&  i-start_idx < sizeof(str_1) && i < sizeof(data) ){
				str_1[i-start_idx] = data[i];
				i++;
			}
			str_1[i-start_idx]= '\0';

			start_idx= ++i;
			while( data[i] != ',' && data[i] != '\n' && i-start_idx < sizeof(str_2) && i < sizeof(data) ){
				str_2[i-start_idx] = data[i];
				i++;
			}
			str_2[--i-start_idx]= '\0';

			// Convert in float values
			linear= (float)atof((char*) str_1);
			angular= (float)atof((char*) str_2);

	//		linear /= 1e8;
	//		angular /= 1e8;

#ifdef STOP_WHEN_ZERO_ENTRY_
			// If values are both zero stop diff drive
			if( linear == 0 && angular == 0 )
				diffDrive_enabled= false;
			else
				diffDrive_enabled= true;
#endif /* STOP_WHEN_ZERO_ENTRY_ */

#endif /* BINARY_PACKET */

			// Try resetting
			//DATASTREAM_ReceiveDMA_Reset(&hstream);

			// Ready for receive new messages
			DATASTREAM_ReceiveDMA(&hstream, data, sizeof(data));

			// Get current time
			tic= osKernelGetTickCount();

		}

		// Blocking the external transmitter until a new message is allowed. DiffDrive task periodically set true
		// the below flag (the external transmitter must be set to wait until received data before to send new more)
		if( allow_new_msg ){
		//allow_new_msg= false;
		//while( !allow_new_msg )
			//;
		//{

			// Get current history sample
			DIFFDRIVE_HISTORY_Get_Sample(&state_measure,NULL);

			// Send diffDrive current pose to serial connected to ESP WiFi module (this trigger the external transmitter
			// to send new data)
			DATASTREAM_Print(
					&hstream, float_csv, 3,
					state_measure.pose.x_a,    state_measure.pose.y_a,
					state_measure.pose.theta
			);

			// Resetting the flag
			allow_new_msg= false;
		}

		// Stopping Rx if flag is at reset value
		while( !RxStream_enabled ){
			DATASTREAM_ReceiveDMA_Reset(&hstream);
			RxStream_stopped= true;
		}

		// If data aren't received for a fixed period of time
		if( (toc= osKernelGetTickCount()-tic) > timeout_time ){

			// Stop Differential Drive motion
			diffDrive_enabled= false;

			// Wait until diff drive is still
			while( !diffDrive_stopped )
				;

			// Turn on LED to show that connection is down
			HAL_GPIO_WritePin(LD2_GPIO_Port, LD2_Pin, GPIO_PIN_SET);

			// Try resetting uart Rx and DMA interrupt
			DATASTREAM_ReceiveDMA_Reset(&hstream);

			// Try to start a new DMA receiving request
			DATASTREAM_ReceiveDMA(&hstream, data, sizeof(data));

			// Wait for input
			while( !__DATASTREAM_RX_DMA_CPLT(&hstream) ){

				// While receiving is disabled keep loop here before to reset
				while( !RxStream_enabled )
					RxStream_stopped= true;

				// If more time elapses, without received data, reset system
				if( (osKernelGetTickCount()-tic) > 3*timeout_time ){
					// Reset MCU
					HAL_NVIC_SystemReset();
				}
			}

			// Turn on LED to show that connection is up
			HAL_GPIO_WritePin(LD2_GPIO_Port, LD2_Pin, GPIO_PIN_RESET);

			// Resume other threads
			osThreadResume(DiffDriveTaskHandle);
#ifdef OBSTACLE_AVOIDANCE
			osThreadResume(InfraredTaskHandle);
#endif
			// Enable diffDrive
			diffDrive_enabled= true;
		}

	}

  /* USER CODE END RxStream */
}

 /**
  * @brief  Period elapsed callback in non blocking mode
  * @note   This function is called  when TIM6 interrupt took place, inside
  * HAL_TIM_IRQHandler(). It makes a direct call to HAL_IncTick() to increment
  * a global variable "uwTick" used as application time base.
  * @param  htim : TIM handle
  * @retval None
  */
void HAL_TIM_PeriodElapsedCallback(TIM_HandleTypeDef *htim)
{
  if (htim->Instance == TIM6) {
    HAL_IncTick();
  }
}

void Error_Handler(void)
{
  __disable_irq();
  while (1)
  {
  }
}

/************************ (C) COPYRIGHT STMicroelectronics *****END OF FILE****/
